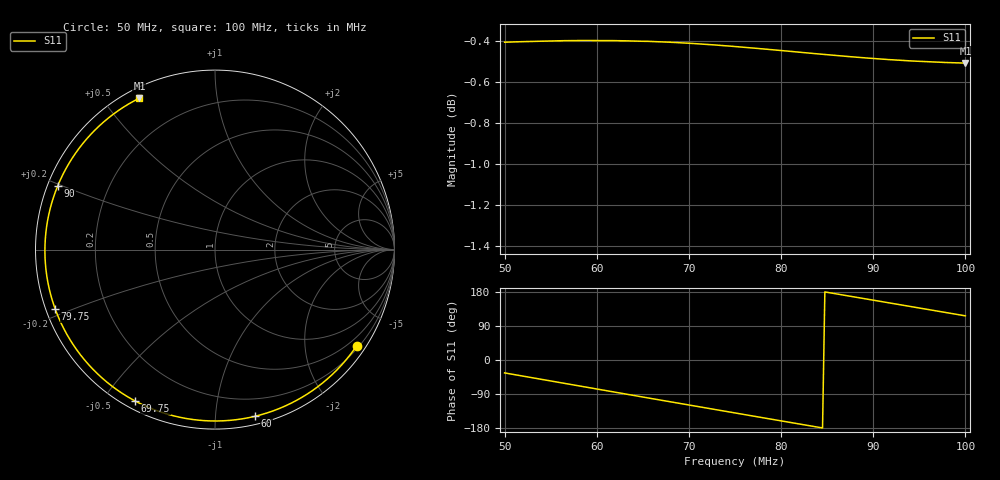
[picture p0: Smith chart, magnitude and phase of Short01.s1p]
!Agilent Technologies,E5072A,MY51200456,A.01.06
!Date: Sat Sep 05 18:56:18 2015
!Data & Calibration Information:
!Freq	S11:SOLT1(ON)
!PortZ  Port1:50+j0
!Above PortZ is port z conversion or system Z0 setting when saving the data.
!When reading, reference impedance value at option line is always used.
# Hz S dB R 50
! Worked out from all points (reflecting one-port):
!   201 points, 50 MHz to 100 MHz, reference 50 ohm
!   lowest |S11| = -0.5 dB at 100 MHz (marker M1), VSWR 34.14, Z = 2.02 + j30.9 ohm
!   phase of S11 starts at -34 deg and turns -209 deg over the sweep
!   S11 on the Smith chart (normalised r, x): 50 MHz: 0.27, -3.24; 60 MHz: 0.06, -1.27; 69.75 MHz: 0.03, -0.60; 79.75 MHz: 0.03, -0.18; 90 MHz: 0.03, +0.20; 100 MHz: 0.04, +0.62
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5e7  -0.41 -34.1
5.15e7  -0.41 -40.5
5.325e7  -0.40 -47.9
5.475e7  -0.40 -54.3
5.625e7  -0.40 -60.7
5.825e7  -0.40 -69.1
6e7  -0.40 -76.6
6.25e7  -0.40 -87.2
6.4e7  -0.40 -93.5
6.55e7  -0.40 -99.8
6.7e7  -0.41 -106.2
6.875e7  -0.41 -113.5
6.975e7  -0.41 -117.7
7.225e7  -0.42 -128.2
7.5e7  -0.43 -139.8
7.725e7  -0.44 -149.2
7.975e7  -0.45 -159.6
8.125e7  -0.45 -165.8
8.275e7  -0.46 -172.1
8.425e7  -0.47 -178.3
8.575e7  -0.47 175.5
8.75e7  -0.48 168.2
9e7  -0.49 157.9
9.175e7  -0.49 150.6
9.375e7  -0.50 142.4
9.7e7  -0.50 128.9
9.85e7  -0.51 122.7
1e8  -0.51 116.5
